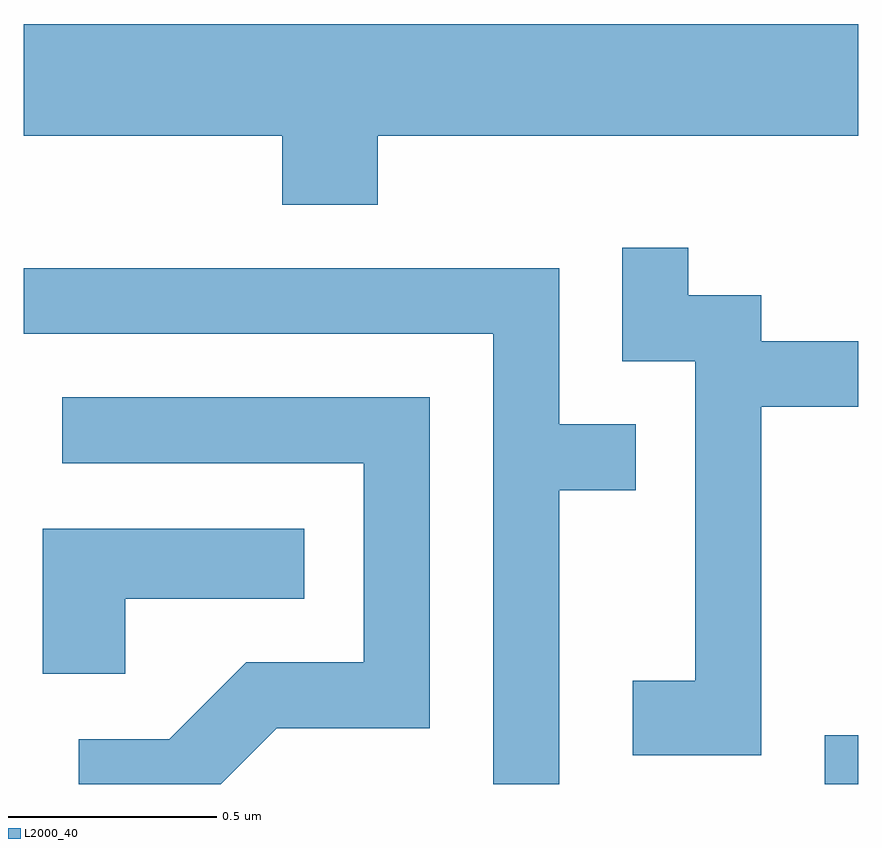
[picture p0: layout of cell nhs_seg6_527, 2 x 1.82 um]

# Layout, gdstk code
import gdstk
lib = gdstk.Library(unit=1e-6, precision=1e-09)
def R(c, l, rs):  # rectangles x0, y0, x1, y1
    for r in rs: c.add(gdstk.rectangle(r[:2], r[2:], *l))
def P(c, l, *ps):  # polygons
    for p in ps: c.add(gdstk.Polygon(p, *l))
L2000_40 = (2000, 40)

nhs_seg6_527 = lib.new_cell('nhs_seg6_527')
R(nhs_seg6_527, L2000_40, [(190.531,1646.162,190.611,1646.279)])
P(nhs_seg6_527, L2000_40, [(189.459,1647.716),(190.611,1647.716),(190.611,1647.984),(188.611,1647.984),(188.611,1647.716),(189.231,1647.716),(189.231,1647.551),(189.459,1647.551)],
  [(190.379,1647.066),(190.611,1647.066),(190.611,1647.224),(190.379,1647.224),(190.379,1647.334),(190.204,1647.334),(190.204,1647.448),(190.046,1647.448),(190.046,1647.176),(190.221,1647.176),(190.221,1646.409),(190.071,1646.409),(190.071,1646.231),(190.379,1646.231)],
  [(189.894,1646.866),(190.078,1646.866),(190.078,1647.024),(189.894,1647.024),(189.894,1647.399),(188.611,1647.399),(188.611,1647.241),(189.736,1647.241),(189.736,1646.162),(189.894,1646.162)],
  [(189.217,1646.296),(189.584,1646.296),(189.584,1647.089),(188.703,1647.089),(188.703,1646.931),(189.426,1646.931),(189.426,1646.454),(189.144,1646.454),(188.959,1646.269),(188.743,1646.269),(188.743,1646.162),(189.083,1646.162)],
  [(188.854,1646.606),(189.283,1646.606),(189.283,1646.774),(188.656,1646.774),(188.656,1646.426),(188.854,1646.426)])

lib.write_gds('nhs_seg6_527.gds')
